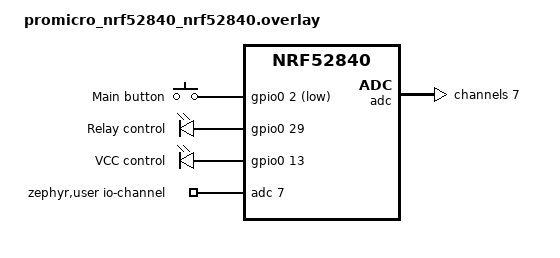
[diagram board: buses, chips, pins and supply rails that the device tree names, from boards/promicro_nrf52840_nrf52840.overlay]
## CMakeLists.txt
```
#
# Copyright (c) 2020 Nordic Semiconductor ASA
#
# SPDX-License-Identifier: LicenseRef-Nordic-5-Clause
#

cmake_minimum_required(VERSION 3.20.0)

find_package(Zephyr REQUIRED HINTS $ENV{ZEPHYR_BASE})

project(light_switch-lp)

# NORDIC SDK APP START
target_sources(app PRIVATE
  src/main.c
  src/gpio_control.c
  src/zigbee_device.c
  src/zigbee_handlers.c
  src/adc_reader.c
)

# Use custom button handler only when DK library is not enabled
target_sources_ifndef(CONFIG_DK_LIBRARY app PRIVATE
  src/button_handler.c
)

target_include_directories(app PRIVATE include)
# NORDIC SDK APP END

target_sources_ifdef(CONFIG_BT_NUS app PRIVATE
  src/nus_cmd.c
)
```

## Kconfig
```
#
# Copyright (c) 2020 Nordic Semiconductor ASA
#
# SPDX-License-Identifier: LicenseRef-Nordic-5-Clause
#

menu "Zephyr Kernel"
source "Kconfig.zephyr"
endmenu

module = NUS_CMD
module-str = NUS command
source "${ZEPHYR_BASE}/subsys/logging/Kconfig.template.log_config"


config LIGHT_SWITCH_CONFIGURE_TX_POWER
	bool "Configure TX power"
	default y
	help
		Enable this option to configure TX power for the sample.

config LIGHT_SWITCH_TX_POWER
	int "TX power"
	depends on LIGHT_SWITCH_CONFIGURE_TX_POWER
	default 0
	help
		TX power level in dBm.

config ADC_READING_INTERVAL_SEC
	int "ADC voltage reading interval in seconds"
	default 60 if !USB_DEVICE_STACK
	default 10
	help
	  Interval between ADC voltage readings.
	  Default is 60 seconds for low-power builds (no USB),
	  10 seconds for development builds with USB.

config ADC_OVERSAMPLE_COUNT
	int "Number of ADC samples to average for noise reduction"
	default 8
	range 1 32
	help
	  Number of ADC samples to take and average together.
	  Higher values reduce noise but increase measurement time.
	  Each sample adds ~100µs delay.
```

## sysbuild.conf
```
#
# Copyright (c) 2024 Nordic Semiconductor ASA
#
# SPDX-License-Identifier: LicenseRef-Nordic-5-Clause
#

# Enable MCUboot bootloader
SB_CONFIG_BOOTLOADER_MCUBOOT=y
```

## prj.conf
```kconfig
#
# Copyright (c) 2020 Nordic Semiconductor ASA
#
# SPDX-License-Identifier: LicenseRef-Nordic-5-Clause
#

CONFIG_NCS_SAMPLES_DEFAULTS=y

CONFIG_UART_INTERRUPT_DRIVEN=n
CONFIG_SERIAL=y
CONFIG_GPIO=y

# ADC for voltage sensing
CONFIG_ADC=y

# Make sure printk is not printing to the UART console
CONFIG_CONSOLE=y
CONFIG_UART_CONSOLE=n

CONFIG_HEAP_MEM_POOL_SIZE=4096
CONFIG_MAIN_STACK_SIZE=4096

CONFIG_ZIGBEE=y
CONFIG_ZIGBEE_APP_UTILS=y
CONFIG_ZIGBEE_ROLE_END_DEVICE=y

# Enable nRF ECB driver for Zigbee crypto
CONFIG_CRYPTO=y
CONFIG_CRYPTO_NRF_ECB=y
CONFIG_CRYPTO_INIT_PRIORITY=80

CONFIG_PM_DEVICE=y
CONFIG_PM=n

# Enable flash subsystem for ZBOSS NVRAM persistence
CONFIG_MPU_ALLOW_FLASH_WRITE=y
CONFIG_NORDIC_QSPI_NOR=y

# This example requires more workqueue stack
CONFIG_SYSTEM_WORKQUEUE_STACK_SIZE=2048
CONFIG_ZBOSS_DEFAULT_THREAD_STACK_SIZE=4096

# Enable API for powering down unused RAM parts
CONFIG_RAM_POWER_DOWN_LIBRARY=y

# Networking
CONFIG_NET_IPV6=n
CONFIG_NET_IP_ADDR_CHECK=n
CONFIG_NET_UDP=n

# USB device stack for console via USB CDC ACM
#CONFIG_USB_DEVICE_STACK=y
#CONFIG_USB_DEVICE_REMOTE_WAKEUP=n
#CONFIG_USB_DEVICE_PRODUCT="Zigbee Light nRF52"
#CONFIG_USB_CDC_ACM=y
#CONFIG_UART_LINE_CTRL=y

# Enable USB console - the board file already sets up USB CDC ACM UART
CONFIG_USB_DEVICE_INITIALIZE_AT_BOOT=n

# Keep printk and console output
CONFIG_PRINTK=y
CONFIG_EARLY_CONSOLE=y
CONFIG_CONSOLE=y
CONFIG_RTT_CONSOLE=y
CONFIG_LOG=y
CONFIG_USE_SEGGER_RTT=y
CONFIG_LOG_BACKEND_RTT=n
CONFIG_LOG_BACKEND_UART=n

CONFIG_ZIGBEE_CHANNEL=25
CONFIG_ZIGBEE_CHANNEL_SELECTION_MODE_SINGLE=y

CONFIG_ADC_READING_INTERVAL_SEC=10
```

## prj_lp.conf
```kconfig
#
# Copyright (c) 2020 Nordic Semiconductor ASA
#
# SPDX-License-Identifier: LicenseRef-Nordic-5-Clause
#

# ==============================================================================
# LOW POWER CONFIGURATION FOR BATTERY OPERATION
# ==============================================================================
# This configuration disables USB and console for true low-power operation.
#
# To build with this configuration:
#   west build -b promicro_nrf52840/nrf52840/uf2 -- -DCONF_FILE=prj_lp.conf
#
# Expected power consumption in sleepy mode: <10µA average
# (Hold button during boot to enable sleepy mode with 5-minute keep-alive)
#
# NOTE: No debug output available - device runs "headless"
# Use prj.conf for development builds with USB console
# ==============================================================================

CONFIG_NCS_SAMPLES_DEFAULTS=y

CONFIG_GPIO=y

CONFIG_HEAP_MEM_POOL_SIZE=2048

CONFIG_ZIGBEE=y
CONFIG_ZIGBEE_APP_UTILS=y
CONFIG_ZIGBEE_ROLE_END_DEVICE=y

# Enable nRF ECB driver for Zigbee crypto
CONFIG_CRYPTO=y
CONFIG_CRYPTO_NRF_ECB=y
CONFIG_CRYPTO_INIT_PRIORITY=80
CONFIG_FLASH_MAP=y
CONFIG_MPU_ALLOW_FLASH_WRITE=y
CONFIG_FLASH=y

# This example requires more workqueue stack
CONFIG_SYSTEM_WORKQUEUE_STACK_SIZE=2048

# Enable API for powering down unused RAM parts
CONFIG_RAM_POWER_DOWN_LIBRARY=y

# Networking
CONFIG_NET_IPV6=n
CONFIG_NET_IP_ADDR_CHECK=n
CONFIG_NET_UDP=n

# ==============================================================================
# USB/CONSOLE DISABLED FOR LOW POWER
# ==============================================================================
# All USB and console features are disabled to allow deep sleep
# The device will consume <10µA in sleepy mode with these settings

# Disable UART (not needed without console)
CONFIG_UART_INTERRUPT_DRIVEN=n
CONFIG_SERIAL=n

# Disable console output
CONFIG_CONSOLE=n
CONFIG_UART_CONSOLE=n
CONFIG_PRINTK=n
# Disable boot banners (they select PRINTK/EARLY_CONSOLE)
CONFIG_NCS_BOOT_BANNER=n
CONFIG_BOOT_BANNER=n
CONFIG_EARLY_CONSOLE=n

# Disable assertions/debug validation (can force PRINTK and add overhead)
CONFIG_ASSERT=n
CONFIG_SPIN_VALIDATE=n

# Disable USB stack completely
CONFIG_USB_DEVICE_STACK=n
# CONFIG_USB_DEVICE_REMOTE_WAKEUP is not set
# CONFIG_USB_DEVICE_PRODUCT is not set
# CONFIG_USB_CDC_ACM is not set
# CONFIG_UART_LINE_CTRL is not set
# CONFIG_USB_DEVICE_INITIALIZE_AT_BOOT is not set

# ==============================================================================
# POWER MANAGEMENT FOR DEEP SLEEP
# ==============================================================================

# Enable system clock (required for power management)
CONFIG_SYS_CLOCK_EXISTS=y

CONFIG_PM=y

CONFIG_POWEROFF=y

# Enable Power Management subsystem - CRITICAL for sleep
CONFIG_PM_DEVICE=y

# Enable tickless kernel - allows system to sleep between events
CONFIG_TICKLESS_KERNEL=y

# Reduce idle stack size to save RAM
CONFIG_IDLE_STACK_SIZE=512

# Disable logging subsystem completely
CONFIG_LOG=n

# Disable shell
CONFIG_SHELL=n

# ==============================================================================
# ADDITIONAL POWER SAVINGS
# ==============================================================================

# Disable unused peripherals to reduce power
CONFIG_I2C=n
CONFIG_SPI=n

# Optimize for size (smaller code = less power during execution)
CONFIG_SPEED_OPTIMIZATIONS=n
CONFIG_SIZE_OPTIMIZATIONS=y

# Reduce system workqueue priority to allow better sleep
CONFIG_SYSTEM_WORKQUEUE_PRIORITY=-1

# ==============================================================================
# CRITICAL: NORDIC POWER MANAGEMENT
# ==============================================================================
# Nordic-specific power management for nRF52840

# Enable Nordic PM (nrfx power management driver)
CONFIG_NRFX_POWER=y

# DCDC converter is typically enabled by default on nRF52840 boards
# If your board doesn't have DCDC, the above won't hurt

CONFIG_ZIGBEE_CHANNEL=25

CONFIG_ZIGBEE_CHANNEL_SELECTION_MODE_SINGLE=y

# ADC for voltage sensing
CONFIG_ADC=y
CONFIG_ADC_READING_INTERVAL_SEC=60
```

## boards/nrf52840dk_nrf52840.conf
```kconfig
#
# Copyright (c) 2022 Nordic Semiconductor ASA
#
# SPDX-License-Identifier: LicenseRef-Nordic-5-Clause
#

# Enable nRF ECB driver
CONFIG_CRYPTO=y
CONFIG_CRYPTO_NRF_ECB=y
CONFIG_CRYPTO_INIT_PRIORITY=80

# Networking
CONFIG_MPSL=y

# Enable DK library for buttons and LEDs on nrf52840dk
CONFIG_DK_LIBRARY=y

# Allow using NFC pins (P0.09, P0.10) as regular GPIO
CONFIG_NFCT_PINS_AS_GPIOS=y
```

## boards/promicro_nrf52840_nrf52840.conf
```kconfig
#
# Copyright (c) 2022 Nordic Semiconductor ASA
#
# SPDX-License-Identifier: LicenseRef-Nordic-5-Clause
#

# Enable nRF ECB driver for Zigbee crypto
CONFIG_CRYPTO=y
CONFIG_CRYPTO_NRF_ECB=y
CONFIG_CRYPTO_INIT_PRIORITY=80
CONFIG_DK_LIBRARY=n

# Pro Micro doesn't have external QSPI flash - disable
CONFIG_NORDIC_QSPI_NOR=n

# Enable flash for ZBOSS NVRAM persistence and MCUboot
CONFIG_FLASH=y
CONFIG_FLASH_MAP=y
```

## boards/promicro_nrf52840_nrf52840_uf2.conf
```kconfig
# Pro Micro nRF52840 board config - no DK library (no LEDs/buttons infrastructure)
# We use custom interrupt-based button handling in button_handler.c
CONFIG_DK_LIBRARY=n

# Force disable debug features for low power
CONFIG_PRINTK=n
CONFIG_ASSERT=n
```

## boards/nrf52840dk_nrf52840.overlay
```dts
/*
 * Copyright (c) 2023 Nordic Semiconductor ASA
 *
 * SPDX-License-Identifier: LicenseRef-Nordic-5-Clause
 */

#include <zephyr/dt-bindings/gpio/gpio.h>

/ {
	chosen {
		ncs,zigbee-timer = &timer2;
	};

	/* Relay control output on P0.03 */
	relays {
		compatible = "gpio-leds";
		status = "okay";
		relay0: relay_0 {
			gpios = <&gpio0 3 GPIO_ACTIVE_HIGH>;
			label = "Relay control";
		};
	};

	aliases {
		relay0 = &relay0;
	};

	/* Voltage sensor ADC channel on P0.04 (AIN2) */
	zephyr,user {
		io-channels = <&adc 2>;
	};
};

&timer2 {
	status = "okay";
};

&adc {
	status = "okay";
	#address-cells = <1>;
	#size-cells = <0>;

	/* P0.04 = AIN2, configured for 0-3.3V range */
	channel@2 {
		reg = <2>;
		zephyr,gain = "ADC_GAIN_1_6";
		zephyr,reference = "ADC_REF_INTERNAL";
		zephyr,acquisition-time = <ADC_ACQ_TIME_DEFAULT>;
		zephyr,input-positive = <NRF_SAADC_AIN2>;
		zephyr,resolution = <12>;
	};
};
```

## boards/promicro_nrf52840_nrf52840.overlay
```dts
/*
 * Copyright (c) 2020 Nordic Semiconductor ASA
 *
 * SPDX-License-Identifier: LicenseRef-Nordic-5-Clause
 */

#include <zephyr/dt-bindings/gpio/gpio.h>

/*
 * Custom configuration for Pro Micro nRF52840 with MCUboot
 *
 * Relay control: P0.29 (active high)
 * Button: P0.02 (active low with pull-up)
 * Voltage ADC: VDDH/5
 */

 / {
	buttons {
		compatible = "gpio-keys";

		/* Physical button on GPIO 0.02 */
		button0: button_0 {
			gpios = <&gpio0 2 (GPIO_PULL_UP | GPIO_ACTIVE_LOW)>;
			label = "Main button";
		};
	};

	leds {
		compatible = "gpio-leds";

		/* Relay/MOSFET control output on P0.17 (active high) */
		relay0: relay_0 {
			gpios = <&gpio0 29 (GPIO_PULL_DOWN | GPIO_ACTIVE_HIGH)>;
			label = "Relay control";
		};
	};

	/* VCC power control - P0.13 LOW = VCC off, HIGH = VCC on */
	vcc_ctrl: vcc_control {
		compatible = "gpio-leds";
		vcc_pin: vcc {
			gpios = <&gpio0 13 GPIO_ACTIVE_HIGH>;
			label = "VCC control";
		};
	};

	aliases {
		sw0 = &button0;
		relay0 = &relay0;
		vcc-ctrl = &vcc_pin;
	};

	/* VDDH voltage sensing via internal divider */
	zephyr,user {
		io-channels = <&adc 7>;
	};
};

/* =============================================================================
 * DISABLE UNUSED PERIPHERALS FOR LOW POWER
 * =============================================================================
 */

/* Enable DC-DC converter for better power efficiency */
&reg1 {
	regulator-initial-mode = <1>; /* NRF5X_REG_MODE_DCDC (0=LDO, 1=DCDC) */
};

/* Disable USB peripheral completely */
&usbd {
	status = "disabled";
};

/* Disable USB voltage regulator */
&reg0 {
	status = "disabled";
};

/* Disable UART */
&uart0 {
	status = "disabled";
};

/* Disable I2C */
&i2c0 {
	status = "disabled";
};

&i2c1 {
	status = "disabled";
};

/* Disable SPI */
&spi0 {
	status = "disabled";
};

&spi1 {
	status = "disabled";
};

&spi2 {
	status = "disabled";
};

/* Disable PWM */
&pwm0 {
	status = "disabled";
};

/* Enable ADC for VDDH voltage sensing */
&adc {
	status = "okay";
	#address-cells = <1>;
	#size-cells = <0>;

	/* VDDHDIV5 - measures VDDH/5 for supply voltage monitoring */
	channel@7 {
		reg = <7>;
		zephyr,gain = "ADC_GAIN_1_6";
		zephyr,reference = "ADC_REF_INTERNAL";
		zephyr,acquisition-time = <ADC_ACQ_TIME_DEFAULT>;
		zephyr,input-positive = <NRF_SAADC_VDDHDIV5>;
		zephyr,resolution = <12>;
	};
};

/* Disable QSPI if present */
&qspi {
	status = "disabled";
};

/* Disable SPI3 */
&spi3 {
	status = "disabled";
};

/* Disable WDT if not needed */
&wdt0 {
	status = "disabled";
};

/* Disable RTC2 (RTC0/1 used by system) */
&rtc2 {
	status = "disabled";
};

/* Disable timer peripherals not needed */
&timer0 {
	status = "disabled";
};

&timer1 {
	status = "disabled";
};

&timer2 {
	status = "disabled";
};

/* Disable board's default LED0 on P0.15 */
&led0 {
	status = "disabled";
};
```

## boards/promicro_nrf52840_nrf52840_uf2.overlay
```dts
/*
 * Copyright (c) 2020 Nordic Semiconductor ASA
 *
 * SPDX-License-Identifier: LicenseRef-Nordic-5-Clause
 */

#include <zephyr/dt-bindings/gpio/gpio.h>

/*
 * Custom configuration for Pro Micro nRF52840
 *
 * Relay control: P0.29 (active high)
 * Button: P0.02 (active low with pull-up)
 * Voltage ADC: VDDH/5
 */

 / {
	buttons {
		compatible = "gpio-keys";

		/* Physical button on GPIO 0.02 */
		button0: button_0 {
			gpios = <&gpio0 2 (GPIO_PULL_UP | GPIO_ACTIVE_LOW)>;
			label = "Main button";
		};
	};

	leds {
		compatible = "gpio-leds";

		/* Relay/MOSFET control output on P0.17 (active high) */
		relay0: relay_0 {
			gpios = <&gpio0 29 (GPIO_PULL_DOWN | GPIO_ACTIVE_HIGH)>;
			label = "Relay control";
		};
	};

	/* VCC power control - P0.13 LOW = VCC off, HIGH = VCC on */
	vcc_ctrl: vcc_control {
		compatible = "gpio-leds";
		vcc_pin: vcc {
			gpios = <&gpio0 13 GPIO_ACTIVE_HIGH>;
			label = "VCC control";
		};
	};

	aliases {
		sw0 = &button0;
		relay0 = &relay0;
		vcc-ctrl = &vcc_pin;
	};

	/* VDDH voltage sensing via internal divider */
	zephyr,user {
		io-channels = <&adc 7>;
	};
};

/* =============================================================================
 * DISABLE UNUSED PERIPHERALS FOR LOW POWER
 * =============================================================================
 */

/* Enable DC-DC converter for better power efficiency */
&reg1 {
	regulator-initial-mode = <1>; /* NRF5X_REG_MODE_DCDC (0=LDO, 1=DCDC) */
};

/* Disable USB peripheral completely */
&usbd {
	status = "disabled";
};

/* Disable USB voltage regulator */
&reg0 {
	status = "disabled";
};

/* Disable UART */
&uart0 {
	status = "disabled";
};

/* Disable I2C */
&i2c0 {
	status = "disabled";
};

&i2c1 {
	status = "disabled";
};

/* Disable SPI */
&spi0 {
	status = "disabled";
};

&spi1 {
	status = "disabled";
};

&spi2 {
	status = "disabled";
};

/* Disable PWM */
&pwm0 {
	status = "disabled";
};

/* Enable ADC for VDDH voltage sensing */
&adc {
	status = "okay";
	#address-cells = <1>;
	#size-cells = <0>;

	/* VDDHDIV5 - measures VDDH/5 for supply voltage monitoring */
	channel@7 {
		reg = <7>;
		zephyr,gain = "ADC_GAIN_1_6";
		zephyr,reference = "ADC_REF_INTERNAL";
		zephyr,acquisition-time = <ADC_ACQ_TIME_DEFAULT>;
		zephyr,input-positive = <NRF_SAADC_VDDHDIV5>;
		zephyr,resolution = <12>;
	};
};

/* Disable QSPI if present */
&qspi {
	status = "disabled";
};

/* Disable SPI3 */
&spi3 {
	status = "disabled";
};

/* Disable WDT if not needed */
&wdt0 {
	status = "disabled";
};

/* Disable RTC2 (RTC0/1 used by system) */
&rtc2 {
	status = "disabled";
};

/* Disable timer peripherals not needed */
&timer0 {
	status = "disabled";
};

&timer1 {
	status = "disabled";
};

&timer2 {
	status = "disabled";
};

/* Disable board's default LED0 on P0.15 */
&led0 {
	status = "disabled";
};
```

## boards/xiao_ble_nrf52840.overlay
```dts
/*
 * Board overlay for Seeed XIAO BLE nRF52840
 *
 * Button on D1 (P0.03) wired to GND
 * LEDs already defined by board: led0=Red(P0.26), led1=Green(P0.30), led2=Blue(P0.06)
 */

#include <zephyr/dt-bindings/gpio/gpio.h>

/ {
	buttons {
		compatible = "gpio-keys";

		button0: button_0 {
			gpios = <&gpio0 3 (GPIO_PULL_UP | GPIO_ACTIVE_LOW)>;
			label = "Main button";
		};
	};

	aliases {
		sw0 = &button0;
	};

	/* Voltage sensor ADC channel on P0.04 (AIN2) */
	zephyr,user {
		io-channels = <&adc 2>;
	};
};

/* Enable DC-DC converter for better power efficiency */
&reg1 {
	regulator-initial-mode = <2>; /* NRF5X_REG_MODE_DCDC */
};

/* =============================================================================
 * DISABLE UNUSED PERIPHERALS FOR LOW POWER
 * =============================================================================
 */

/* Disable USB peripheral completely - major power drain */
&usbd {
	status = "disabled";
};

/* Disable UART - not needed for low power operation */
&uart0 {
	status = "disabled";
};

/* Disable I2C */
&i2c1 {
	status = "disabled";
};

/* Disable SPI */
&spi2 {
	status = "disabled";
};

/* Disable PWM */
&pwm0 {
	status = "disabled";
};

/* Disable USB voltage regulator */
&reg0 {
	status = "disabled";
};

/* Enable ADC for voltage sensing */
&adc {
	status = "okay";
	#address-cells = <1>;
	#size-cells = <0>;

	/* P0.04 = AIN2, configured for 0-3.3V range */
	channel@2 {
		reg = <2>;
		zephyr,gain = "ADC_GAIN_1_6";
		zephyr,reference = "ADC_REF_INTERNAL";
		zephyr,acquisition-time = <ADC_ACQ_TIME_DEFAULT>;
		zephyr,input-positive = <NRF_SAADC_AIN2>;
		zephyr,resolution = <12>;
	};
};
```

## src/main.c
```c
/*
 * Copyright (c) 2020 Nordic Semiconductor ASA
 *
 * SPDX-License-Identifier: LicenseRef-Nordic-5-Clause
 */

/**
 * @file main.c
 * @brief Zigbee LED Controller - Application entry point
 */

#include <zephyr/kernel.h>
#include <zephyr/logging/log.h>
#include <zephyr/pm/device.h>
#include <ram_pwrdn.h>

#include <zboss_api.h>
#include <zigbee/zigbee_app_utils.h>
#include <zb_nrf_platform.h>

#include "zb_mem_config_custom.h"
#include "gpio_control.h"
#include "zigbee_device.h"
#include "zigbee_handlers.h"
#include "adc_reader.h"

#ifdef CONFIG_DK_LIBRARY
#include <dk_buttons_and_leds.h>
#else
#include "button_handler.h"
#endif

#if defined(CONFIG_USB_DEVICE_STACK)
#include <zephyr/usb/usb_device.h>
#endif

#if !defined ZB_ED_ROLE
#error Define ZB_ED_ROLE to compile light switch (End Device) source code.
#endif

LOG_MODULE_REGISTER(app, LOG_LEVEL_INF);

#ifdef CONFIG_DK_LIBRARY
/* Factory reset timer for long press detection */
#define FACTORY_RESET_TIME_MS 5000

static struct k_timer factory_reset_timer;
static volatile bool factory_reset_pending = false;

/* Callback to perform factory reset in ZBOSS context */
static void do_factory_reset(zb_uint8_t param)
{
	ARG_UNUSED(param);
	LOG_INF("Performing factory reset...");
	zb_bdb_reset_via_local_action(0);
}

static void factory_reset_timer_handler(struct k_timer *timer)
{
	factory_reset_pending = true;
	LOG_INF("Factory reset triggered!");
	/* Schedule reset in ZBOSS context - cannot call directly from timer/ISR */
	ZB_SCHEDULE_APP_CALLBACK(do_factory_reset, 0);
}

/**
 * @brief DK button handler callback
 *
 * Button 1 (sw0): Toggle Relay (endpoint 1)
 * Long press Button 1: Factory reset
 */
static void dk_button_handler(uint32_t button_state, uint32_t has_changed)
{
	/* Button 1 pressed - Relay control */
	if (has_changed & DK_BTN1_MSK) {
		if (button_state & DK_BTN1_MSK) {
			/* Button pressed - start factory reset timer */
			k_timer_start(&factory_reset_timer,
				      K_MSEC(FACTORY_RESET_TIME_MS), K_NO_WAIT);
		} else {
			/* Button released */
			k_timer_stop(&factory_reset_timer);
			if (!factory_reset_pending) {
				/* Short press - toggle relay */
				user_input_indicate();
				zigbee_device_toggle_relay();
			}
			factory_reset_pending = false;
		}
	}
}
#endif /* CONFIG_DK_LIBRARY */

/* QSPI flash device - put into deep power-down for low power */
#define QSPI_FLASH_NODE DT_NODELABEL(p25q16h)
#if DT_NODE_EXISTS(QSPI_FLASH_NODE)
static const struct device *qspi_flash = DEVICE_DT_GET_OR_NULL(QSPI_FLASH_NODE);
#endif

static void qspi_flash_suspend(void)
{
#if DT_NODE_EXISTS(QSPI_FLASH_NODE)
	if (qspi_flash && device_is_ready(qspi_flash)) {
		int err = pm_device_action_run(qspi_flash, PM_DEVICE_ACTION_SUSPEND);
		if (err < 0 && err != -EALREADY) {
			LOG_WRN("Failed to suspend QSPI flash: %d", err);
		} else {
			LOG_INF("QSPI flash in deep power-down");
		}
	}
#endif
}

int main(void)
{
	int err;

#if defined(CONFIG_USB_DEVICE_STACK)
	/* Enable USB CDC ACM for console */
	err = usb_enable(NULL);
	if (err && err != -EALREADY) {
		/* USB failed but continue anyway */
	}
	/* Give USB a moment to enumerate */
	k_sleep(K_MSEC(1000));
#endif

	/* Put QSPI flash into deep power-down to save power */
	qspi_flash_suspend();

	LOG_INF("Starting Zigbee LED Controller");

	/* Initialize GPIO (relay pin, and LEDs/buttons when not using DK library) */
	err = gpio_control_init();
	if (err) {
		LOG_ERR("GPIO initialization failed: %d", err);
		return err;
	}

#ifdef CONFIG_DK_LIBRARY
	/* Initialize DK buttons and LEDs */
	err = dk_buttons_init(dk_button_handler);
	if (err) {
		LOG_ERR("DK buttons initialization failed: %d", err);
		return err;
	}

	err = dk_leds_init();
	if (err) {
		LOG_ERR("DK LEDs initialization failed: %d", err);
		return err;
	}

	/* Initialize factory reset timer */
	k_timer_init(&factory_reset_timer, factory_reset_timer_handler, NULL);
#else
	/* Cut VCC off (P0.13 LOW) for low power - external 3.3V rail disabled */
	led_power_set(false);

	/* Initialize button handler with interrupts and debounce */
	err = button_handler_init(NULL);
	if (err) {
		LOG_ERR("Button handler initialization failed: %d", err);
		return err;
	}
#endif

	/* Configure Zigbee stack */
	zigbee_erase_persistent_storage(ERASE_PERSISTENT_CONFIG);
	zb_set_ed_timeout(ED_AGING_TIMEOUT_64MIN);

	/* Configure as sleepy end device if USB is not enabled */
#if !defined(CONFIG_USB_DEVICE_STACK)
	zigbee_configure_sleepy_behavior(true);

	/* Set keep-alive for low power (10 seconds) */
	zb_set_keepalive_timeout(ZB_MILLISECONDS_TO_BEACON_INTERVAL(10000));
#endif

	/* Power off unused sections of RAM to lower device power consumption */
	if (IS_ENABLED(CONFIG_RAM_POWER_DOWN_LIBRARY)) {
		power_down_unused_ram();
	}

	/* Initialize FOTA if enabled */
	zigbee_handlers_init();

	/* Initialize Zigbee device clusters and attributes */
	zigbee_device_init();

	/* Register device context and callbacks */
	zigbee_device_register();

	/* Start Zigbee stack */
	zigbee_enable();

	LOG_INF("Zigbee Relay Controller started - Relay is %s",
		zigbee_device_get_relay_state() ? "ON" : "OFF");

	/* Initialize ADC for voltage sensing */
	err = adc_reader_init();
	if (err) {
		LOG_ERR("ADC initialization failed: %d", err);
	} else {
		/* Start periodic voltage readings */
		adc_start_periodic_reading();
	}

	while (1) {
		k_sleep(K_FOREVER);
	}
}
```

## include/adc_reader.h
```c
/*
 * Copyright (c) 2020 Nordic Semiconductor ASA
 *
 * SPDX-License-Identifier: LicenseRef-Nordic-5-Clause
 */

/**
 * @file adc_reader.h
 * @brief ADC voltage reader interface for P0.04 (AIN2)
 *
 * Reads voltage from P0.04, calibrated for 1.5V to 3.3V range.
 */

#ifndef ADC_READER_H
#define ADC_READER_H

#include <stdint.h>

/**
 * @brief Initialize the ADC for voltage reading
 *
 * Configures ADC channel 2 (P0.04/AIN2) for voltage measurement.
 *
 * @return 0 on success, negative error code on failure
 */
int adc_reader_init(void);

/**
 * @brief Read raw ADC value
 *
 * @param[out] raw_value Pointer to store the raw 12-bit ADC value
 * @return 0 on success, negative error code on failure
 */
int adc_read_raw(int16_t *raw_value);

/**
 * @brief Read voltage in millivolts
 *
 * Converts the raw ADC reading to millivolts.
 * Valid range is approximately 0-3600mV with internal reference and 1/6 gain.
 *
 * @param[out] voltage_mv Pointer to store the voltage in millivolts
 * @return 0 on success, negative error code on failure
 */
int adc_read_voltage_mv(int32_t *voltage_mv);

/**
 * @brief Start periodic ADC voltage readings
 *
 * Starts a periodic work item that reads voltage at the configured interval
 * (CONFIG_ADC_READING_INTERVAL_SEC) and updates the Zigbee attribute.
 *
 * @return 0 on success, negative error code on failure
 */
int adc_start_periodic_reading(void);

/**
 * @brief Stop periodic ADC voltage readings
 */
void adc_stop_periodic_reading(void);

#endif /* ADC_READER_H */
```

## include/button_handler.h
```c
/*
 * Copyright (c) 2020 Nordic Semiconductor ASA
 *
 * SPDX-License-Identifier: LicenseRef-Nordic-5-Clause
 */

/**
 * @file button_handler.h
 * @brief Button input handling with debounce and factory reset support
 */

#ifndef BUTTON_HANDLER_H
#define BUTTON_HANDLER_H

#include <stdbool.h>

/**
 * @brief Button event callback type
 *
 * Called when a button press event is processed (after debounce).
 * The callback runs in work queue context (not ISR).
 *
 * @param long_press true if this was a long press (factory reset), false for short press
 */
typedef void (*button_event_cb_t)(bool long_press);

/**
 * @brief Initialize button handler
 *
 * Sets up button interrupt, debounce timer, and factory reset timer.
 * Must be called after gpio_control_init().
 *
 * @param callback Function to call on button events (can be NULL)
 * @return 0 on success, negative error code on failure
 */
int button_handler_init(button_event_cb_t callback);

#endif /* BUTTON_HANDLER_H */
```

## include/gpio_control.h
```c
/*
 * Copyright (c) 2020 Nordic Semiconductor ASA
 *
 * SPDX-License-Identifier: LicenseRef-Nordic-5-Clause
 */

/**
 * @file gpio_control.h
 * @brief GPIO control interface for LEDs and button
 */

#ifndef GPIO_CONTROL_H
#define GPIO_CONTROL_H

#include <stdbool.h>

/**
 * @brief Initialize all GPIO pins (relay, MOSFET, LEDs, and button)
 *
 * Configures relay and MOSFET outputs, power LED, and button input.
 * Does not setup button interrupt.
 *
 * @return 0 on success, negative error code on failure
 */
int gpio_control_init(void);

/**
 * @brief Set the power/status LED state
 *
 * @param on true to turn LED on, false to turn off
 */
void led_power_set(bool on);

/**
 * @brief Set the relay state
 *
 * Controls the relay output on P0.29 (active high).
 *
 * @param on true to turn relay on, false to turn off
 */
void relay_control_set(bool on);

#ifndef CONFIG_DK_LIBRARY
/**
 * @brief Get current button state
 *
 * @return true if button is pressed (logical active), false otherwise
 */
bool button_get_state(void);

/**
 * @brief Get the button GPIO device tree spec
 *
 * Used by button_handler to configure interrupts.
 *
 * @return Pointer to the button GPIO spec
 */
const struct gpio_dt_spec *button_get_dt_spec(void);
#endif

#endif /* GPIO_CONTROL_H */
```

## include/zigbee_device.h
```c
/*
 * Copyright (c) 2020 Nordic Semiconductor ASA
 *
 * SPDX-License-Identifier: LicenseRef-Nordic-5-Clause
 */

/**
 * @file zigbee_device.h
 * @brief Zigbee device configuration and ZCL cluster definitions
 */

#ifndef ZIGBEE_DEVICE_H
#define ZIGBEE_DEVICE_H

#include <zboss_api.h>

/* Source endpoint for Zigbee device */
#define RELAY_SWITCH_ENDPOINT      1

/* Do not erase NVRAM to save the network parameters after device reboot or
 * power-off. NOTE: If this option is set to ZB_TRUE then do full device erase
 * for all network devices before running other samples.
 */
#define ERASE_PERSISTENT_CONFIG    ZB_FALSE

/**
 * @brief Initialize Zigbee device clusters and attributes
 *
 * Sets up all ZCL cluster attributes with default values.
 */
void zigbee_device_init(void);

/**
 * @brief Register Zigbee device context and callbacks
 *
 * Registers the device context, ZCL callback, and identify handlers.
 */
void zigbee_device_register(void);

/**
 * @brief Set relay state and update Zigbee On/Off attribute
 *
 * @param on true to turn relay on, false to turn off
 */
void zigbee_device_set_relay(bool on);

/**
 * @brief Toggle relay state and update Zigbee On/Off attribute
 *
 * @return New relay state after toggle
 */
bool zigbee_device_toggle_relay(void);

/**
 * @brief Get current relay state
 *
 * @return true if relay is on, false otherwise
 */
bool zigbee_device_get_relay_state(void);

/**
 * @brief Update battery level and report to Zigbee2MQTT
 *
 * Updates the Power Configuration cluster attributes:
 * - Battery voltage (0x0020) in units of 100mV
 * - Battery percentage (0x0021) in half-percent units (200 = 100%)
 *
 * Sends attribute report if voltage change exceeds threshold.
 * Uses Li-ion battery curve: 3.0V = 0%, 4.2V = 100%
 *
 * @param voltage_mv Battery voltage in millivolts
 */
void zigbee_device_update_battery(int32_t voltage_mv);

/**
 * @brief Set network joined status
 *
 * Called from signal handler when network join status changes.
 * Battery reports are only sent when joined.
 *
 * @param joined true if device has joined network, false otherwise
 */
void zigbee_device_set_network_joined(bool joined);

/**
 * @brief Check if device is joined to network
 *
 * @return true if device has joined network, false otherwise
 */
bool zigbee_device_is_network_joined(void);

#endif /* ZIGBEE_DEVICE_H */
```

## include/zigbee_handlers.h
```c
/*
 * Copyright (c) 2020 Nordic Semiconductor ASA
 *
 * SPDX-License-Identifier: LicenseRef-Nordic-5-Clause
 */

/**
 * @file zigbee_handlers.h
 * @brief Zigbee stack event handlers and identify callbacks
 */

#ifndef ZIGBEE_HANDLERS_H
#define ZIGBEE_HANDLERS_H

#include <zboss_api.h>

/**
 * @brief Initialize Zigbee FOTA if enabled
 *
 * Should be called before zigbee_enable().
 */
void zigbee_handlers_init(void);

/**
 * @brief Identify notification callback
 *
 * Handles identify mode - blinks LED when in identify mode.
 * This is registered as the identify notification handler for endpoints.
 *
 * @param bufid Buffer ID from ZBOSS scheduler
 */
void identify_cb(zb_bufid_t bufid);

#endif /* ZIGBEE_HANDLERS_H */
```

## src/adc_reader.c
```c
/*
 * Copyright (c) 2020 Nordic Semiconductor ASA
 *
 * SPDX-License-Identifier: LicenseRef-Nordic-5-Clause
 */

/**
 * @file adc_reader.c
 * @brief ADC voltage reader implementation for P0.04 (AIN2)
 */

#include <zephyr/kernel.h>
#include <zephyr/device.h>
#include <zephyr/devicetree.h>
#include <zephyr/logging/log.h>
#include <errno.h>

#include "adc_reader.h"
#include "zigbee_device.h"

LOG_MODULE_REGISTER(adc_reader, LOG_LEVEL_INF);

#ifdef CONFIG_ADC

#include <zephyr/drivers/adc.h>

/* Reading interval from Kconfig (60s for low-power, 10s for development) */
#define ADC_READING_INTERVAL_MS (CONFIG_ADC_READING_INTERVAL_SEC * 1000)

/* Oversampling configuration for noise reduction */
#define ADC_SAMPLE_DELAY_US     100     /* Delay between samples in microseconds */

#if !DT_NODE_EXISTS(DT_PATH(zephyr_user)) || \
    !DT_NODE_HAS_PROP(DT_PATH(zephyr_user), io_channels)
#error "No suitable devicetree overlay specified for ADC"
#endif

#define DT_SPEC_AND_COMMA(node_id, prop, idx) \
	ADC_DT_SPEC_GET_BY_IDX(node_id, idx),

/* ADC channels defined in devicetree */
static const struct adc_dt_spec adc_channel = ADC_DT_SPEC_GET_BY_IDX(DT_PATH(zephyr_user), 0);

/* Buffer for ADC sample */
static int16_t adc_buf;

/* ADC sequence configuration */
static struct adc_sequence sequence = {
	.buffer = &adc_buf,
	.buffer_size = sizeof(adc_buf),
};

int adc_reader_init(void)
{
	int err;

	if (!adc_is_ready_dt(&adc_channel)) {
		LOG_ERR("ADC controller device %s not ready", adc_channel.dev->name);
		return -ENODEV;
	}

	err = adc_channel_setup_dt(&adc_channel);
	if (err < 0) {
		LOG_ERR("Could not setup ADC channel (%d)", err);
		return err;
	}

	LOG_INF("ADC initialized on channel %d", adc_channel.channel_id);

	return 0;
}

int adc_read_raw(int16_t *raw_value)
{
	int err;

	if (raw_value == NULL) {
		return -EINVAL;
	}

	err = adc_sequence_init_dt(&adc_channel, &sequence);
	if (err < 0) {
		LOG_ERR("Could not initialize ADC sequence (%d)", err);
		return err;
	}

	err = adc_read_dt(&adc_channel, &sequence);
	if (err < 0) {
		LOG_ERR("Could not read ADC (%d)", err);
		return err;
	}

	*raw_value = adc_buf;

	return 0;
}

int adc_read_voltage_mv(int32_t *voltage_mv)
{
	int err;
	int16_t raw;
	int32_t sum = 0;
	int valid_samples = 0;

	if (voltage_mv == NULL) {
		return -EINVAL;
	}

	/* Take multiple samples and average to reduce noise */
	for (int i = 0; i < CONFIG_ADC_OVERSAMPLE_COUNT; i++) {
		err = adc_read_raw(&raw);
		if (err == 0) {
			sum += raw;
			valid_samples++;
		}

		/* Small delay between samples to let ADC settle */
		if (i < CONFIG_ADC_OVERSAMPLE_COUNT - 1) {
			k_busy_wait(ADC_SAMPLE_DELAY_US);
		}
	}

	if (valid_samples == 0) {
		LOG_ERR("All ADC samples failed");
		return -EIO;
	}

	/* Calculate average raw value */
	int16_t avg_raw = (int16_t)(sum / valid_samples);

	/* Convert averaged raw value to millivolts */
	*voltage_mv = (int32_t)avg_raw;
	err = adc_raw_to_millivolts_dt(&adc_channel, voltage_mv);
	if (err < 0) {
		LOG_ERR("Could not convert to millivolts (%d)", err);
		return err;
	}

	/* VDDHDIV5 divides VDDH by 5, so multiply to get actual voltage */
	*voltage_mv *= 5;

	LOG_DBG("ADC: %d samples, avg raw=%d, VDDH=%d mV",
		valid_samples, avg_raw, *voltage_mv);

	return 0;
}

/* Periodic reading work item and timer */
static struct k_work_delayable adc_work;
static bool periodic_reading_enabled = false;

static void adc_work_handler(struct k_work *work)
{
	int32_t voltage_mv;
	int err;

	err = adc_read_voltage_mv(&voltage_mv);
	if (err == 0) {
		/* Update Zigbee battery attribute with new voltage reading */
		zigbee_device_update_battery(voltage_mv);
	} else {
		LOG_WRN("Failed to read ADC voltage: %d", err);
	}

	/* Schedule next reading if still enabled */
	if (periodic_reading_enabled) {
		k_work_schedule(&adc_work, K_MSEC(ADC_READING_INTERVAL_MS));
	}
}

int adc_start_periodic_reading(void)
{
	if (periodic_reading_enabled) {
		return 0; /* Already running */
	}

	k_work_init_delayable(&adc_work, adc_work_handler);
	periodic_reading_enabled = true;

	/* Take first reading immediately */
	k_work_schedule(&adc_work, K_NO_WAIT);

	LOG_INF("ADC periodic reading started (interval: %d sec)", CONFIG_ADC_READING_INTERVAL_SEC);

	return 0;
}

void adc_stop_periodic_reading(void)
{
	periodic_reading_enabled = false;
	k_work_cancel_delayable(&adc_work);
	LOG_INF("ADC periodic reading stopped");
}

#else /* !CONFIG_ADC */

/* Stub implementations when ADC is disabled */

int adc_reader_init(void)
{
	LOG_INF("ADC disabled");
	return 0;
}

int adc_read_raw(int16_t *raw_value)
{
	return -ENOTSUP;
}

int adc_read_voltage_mv(int32_t *voltage_mv)
{
	return -ENOTSUP;
}

int adc_start_periodic_reading(void)
{
	return 0;
}

void adc_stop_periodic_reading(void)
{
}

#endif /* CONFIG_ADC */
```

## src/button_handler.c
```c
/*
 * Copyright (c) 2020 Nordic Semiconductor ASA
 *
 * SPDX-License-Identifier: LicenseRef-Nordic-5-Clause
 */

/**
 * @file button_handler.c
 * @brief Button input handling with proper debounce and factory reset support
 *
 * Uses "sample after quiet period" debounce approach:
 * - Any edge interrupt restarts a short debounce timer
 * - When timer fires (no edges for 30ms), we sample the actual button state
 * - This ensures we act on the settled state, not bouncy edges
 */

#include <zephyr/kernel.h>
#include <zephyr/drivers/gpio.h>
#include <zephyr/logging/log.h>

#include <zboss_api.h>
#include <zigbee/zigbee_app_utils.h>

#include "button_handler.h"
#include "gpio_control.h"
#include "zigbee_device.h"

LOG_MODULE_REGISTER(button_handler, LOG_LEVEL_INF);

/* Timing constants */
#define DEBOUNCE_MS           30    /* Wait for button to settle */
#define FACTORY_RESET_TIME_MS 5000  /* Hold time for factory reset */

/* Button state machine */
typedef enum {
	BTN_IDLE,           /* Button released, waiting for press */
	BTN_PRESSED,        /* Button pressed, waiting for release or long-press timeout */
	BTN_LONG_PRESS,     /* Long press detected, factory reset in progress */
} button_state_t;

static volatile button_state_t btn_state = BTN_IDLE;

/* Timers */
static struct k_timer debounce_timer;      /* Debounce: sample state after quiet period */
static struct k_timer factory_reset_timer; /* Long press detection */

/* Work items for thread context execution */
static struct k_work short_press_work;
static struct k_work factory_reset_work;

/* GPIO callback */
static struct gpio_callback button_cb_data;

/* User callback */
static button_event_cb_t user_callback = NULL;

/* Forward declarations */
static void process_button_state(bool pressed);

/**
 * @brief Debounce timer handler - samples button state after quiet period
 *
 * Called 30ms after the last edge interrupt. The button should be settled now.
 */
static void debounce_timer_handler(struct k_timer *timer)
{
	bool pressed = button_get_state();
	process_button_state(pressed);
}

/**
 * @brief Process the debounced button state
 *
 * Called from debounce timer handler (ISR context).
 */
static void process_button_state(bool pressed)
{
	switch (btn_state) {
	case BTN_IDLE:
		if (pressed) {
			/* Transition: IDLE -> PRESSED */
			btn_state = BTN_PRESSED;
			LOG_DBG("Button pressed, starting long-press timer");
			k_timer_start(&factory_reset_timer,
				      K_MSEC(FACTORY_RESET_TIME_MS), K_NO_WAIT);
		}
		/* else: still idle, ignore */
		break;

	case BTN_PRESSED:
		if (!pressed) {
			/* Transition: PRESSED -> IDLE (short press) */
			btn_state = BTN_IDLE;
			k_timer_stop(&factory_reset_timer);
			LOG_DBG("Button released (short press)");
			k_work_submit(&short_press_work);
		}
		/* else: still pressed, waiting for release or timeout */
		break;

	case BTN_LONG_PRESS:
		if (!pressed) {
			/* Transition: LONG_PRESS -> IDLE */
			btn_state = BTN_IDLE;
			LOG_DBG("Button released after long press");
		}
		/* else: still pressed during/after factory reset */
		break;
	}
}

/**
 * @brief Factory reset timer handler - long press detected
 */
static void factory_reset_timer_handler(struct k_timer *timer)
{
	if (btn_state == BTN_PRESSED) {
		/* Still pressed after 5 seconds - trigger factory reset */
		btn_state = BTN_LONG_PRESS;
		LOG_INF("Long press detected - triggering factory reset");
		k_work_submit(&factory_reset_work);
	}
}

/**
 * @brief Button ISR - just restarts debounce timer
 *
 * We don't process the button state here - we wait for it to settle.
 */
static void button_isr(const struct device *dev, struct gpio_callback *cb,
		       uint32_t pins)
{
	/* Any edge restarts the debounce timer */
	k_timer_start(&debounce_timer, K_MSEC(DEBOUNCE_MS), K_NO_WAIT);
}

/**
 * @brief Short press work handler (thread context)
 */
static void short_press_work_handler(struct k_work *work)
{
	ARG_UNUSED(work);

	/* Inform Zigbee stack about user input */
	user_input_indicate();

	/* Toggle relay */
	zigbee_device_toggle_relay();

	/* Notify user callback */
	if (user_callback) {
		user_callback(false);
	}
}

/* Callback to perform factory reset in ZBOSS context */
static void do_factory_reset(zb_uint8_t param)
{
	ARG_UNUSED(param);
	LOG_INF("Performing factory reset...");
	zb_bdb_reset_via_local_action(0);
}

/**
 * @brief Factory reset work handler (thread context)
 */
static void factory_reset_work_handler(struct k_work *work)
{
	ARG_UNUSED(work);

	LOG_INF("Factory reset triggered!");

	/* Notify user callback */
	if (user_callback) {
		user_callback(true);
	}

	/* Schedule reset in ZBOSS context */
	ZB_SCHEDULE_APP_CALLBACK(do_factory_reset, 0);
}

int button_handler_init(button_event_cb_t callback)
{
	int err;
	const struct gpio_dt_spec *button_spec = button_get_dt_spec();

	user_callback = callback;

	/* Initialize timers */
	k_timer_init(&debounce_timer, debounce_timer_handler, NULL);
	k_timer_init(&factory_reset_timer, factory_reset_timer_handler, NULL);

	/* Initialize work items */
	k_work_init(&short_press_work, short_press_work_handler);
	k_work_init(&factory_reset_work, factory_reset_work_handler);

	/* Setup button interrupt for both edges */
	err = gpio_pin_interrupt_configure_dt(button_spec, GPIO_INT_EDGE_BOTH);
	if (err) {
		LOG_ERR("Failed to configure button interrupt: %d", err);
		return err;
	}

	gpio_init_callback(&button_cb_data, button_isr, BIT(button_spec->pin));
	err = gpio_add_callback(button_spec->port, &button_cb_data);
	if (err) {
		LOG_ERR("Failed to add button callback: %d", err);
		return err;
	}

	LOG_INF("Button handler initialized (debounce=%dms, long_press=%dms)",
		DEBOUNCE_MS, FACTORY_RESET_TIME_MS);
	return 0;
}
```

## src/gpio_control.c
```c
/*
 * Copyright (c) 2020 Nordic Semiconductor ASA
 *
 * SPDX-License-Identifier: LicenseRef-Nordic-5-Clause
 */

/**
 * @file gpio_control.c
 * @brief GPIO control implementation for LEDs, relay, and button
 */

#include <zephyr/kernel.h>
#include <zephyr/device.h>
#include <zephyr/drivers/gpio.h>
#include <zephyr/logging/log.h>

#include "gpio_control.h"

#ifdef CONFIG_DK_LIBRARY
#include <dk_buttons_and_leds.h>
#endif

LOG_MODULE_REGISTER(gpio_control, LOG_LEVEL_INF);

/* Relay GPIO on P0.29 - only if relay0 alias exists in devicetree */
#if DT_NODE_EXISTS(DT_ALIAS(relay0))
#define HAS_RELAY 1
static const struct gpio_dt_spec relay_ctrl = GPIO_DT_SPEC_GET(DT_ALIAS(relay0), gpios);
#else
#define HAS_RELAY 0
#endif

#ifndef CONFIG_DK_LIBRARY
/* Custom GPIO specs when DK library is not used */
static const struct gpio_dt_spec button_main = GPIO_DT_SPEC_GET(DT_ALIAS(sw0), gpios);

/* VCC power control on P0.13 - HIGH = VCC on, LOW = VCC off */
#if DT_NODE_EXISTS(DT_ALIAS(vcc_ctrl))
#define HAS_VCC_CTRL 1
static const struct gpio_dt_spec vcc_ctrl = GPIO_DT_SPEC_GET(DT_ALIAS(vcc_ctrl), gpios);
#else
#define HAS_VCC_CTRL 0
#endif
#endif

int gpio_control_init(void)
{
	int err;

#ifndef CONFIG_DK_LIBRARY
	/* Configure VCC control pin (P0.13) - set HIGH to keep VCC on */
#if HAS_VCC_CTRL
	if (!gpio_is_ready_dt(&vcc_ctrl)) {
		LOG_ERR("VCC control GPIO not ready");
		return -ENODEV;
	}
	/* Start with VCC ON (P0.13 HIGH) - set LOW to cut VCC for low power */
	err = gpio_pin_configure_dt(&vcc_ctrl, GPIO_OUTPUT_ACTIVE);
	if (err) {
		LOG_ERR("Failed to configure VCC control: %d", err);
		return err;
	}
	LOG_INF("VCC control initialized (P0.13 HIGH = VCC on)");
#endif

	/* Configure button input (interrupt setup done by button_handler) */
	if (!gpio_is_ready_dt(&button_main)) {
		LOG_ERR("Button GPIO not ready");
		return -ENODEV;
	}
	err = gpio_pin_configure_dt(&button_main, GPIO_INPUT);
	if (err) {
		LOG_ERR("Failed to configure button: %d", err);
		return err;
	}
#endif

	/* Configure relay output on P0.29 (only if defined in devicetree) */
#if HAS_RELAY
	if (!gpio_is_ready_dt(&relay_ctrl)) {
		LOG_ERR("Relay GPIO not ready");
		return -ENODEV;
	}
	err = gpio_pin_configure_dt(&relay_ctrl, GPIO_OUTPUT_INACTIVE);
	if (err) {
		LOG_ERR("Failed to configure relay: %d", err);
		return err;
	}
	LOG_INF("Relay GPIO initialized on P%d.%02d",
		relay_ctrl.port == DEVICE_DT_GET(DT_NODELABEL(gpio0)) ? 0 : 1,
		relay_ctrl.pin);
#else
	LOG_INF("GPIO initialized (no relay configured)");
#endif

	return 0;
}

void led_power_set(bool on)
{
#ifdef CONFIG_DK_LIBRARY
	dk_set_led(DK_LED2, on ? 1 : 0);
#else
	/* On Pro Micro, this controls VCC via P0.13 */
	/* For low power: call led_power_set(false) to cut VCC */
#if HAS_VCC_CTRL
	gpio_pin_set_dt(&vcc_ctrl, on ? 1 : 0);
#endif
#endif
}

void relay_control_set(bool on)
{
#if HAS_RELAY
	gpio_pin_set_dt(&relay_ctrl, on ? 1 : 0);
#else
	ARG_UNUSED(on);
#endif
}

#ifndef CONFIG_DK_LIBRARY
bool button_get_state(void)
{
	/* `gpio_pin_get_dt()` already applies `GPIO_ACTIVE_LOW` from devicetree. */
	return gpio_pin_get_dt(&button_main) > 0;
}

const struct gpio_dt_spec *button_get_dt_spec(void)
{
	return &button_main;
}
#endif
```

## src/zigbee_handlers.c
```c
/*
 * Copyright (c) 2020 Nordic Semiconductor ASA
 *
 * SPDX-License-Identifier: LicenseRef-Nordic-5-Clause
 */

/**
 * @file zigbee_handlers.c
 * @brief Zigbee stack event handlers and identify callbacks
 */

#include <zephyr/kernel.h>
#include <zephyr/logging/log.h>

#include <zboss_api.h>
#include <zboss_api_addons.h>
#include <zigbee/zigbee_app_utils.h>
#include <zigbee/zigbee_error_handler.h>
#include <ram_pwrdn.h>

#include "zigbee_handlers.h"
#include "zigbee_device.h"
#include "gpio_control.h"

#if CONFIG_ZIGBEE_FOTA
#include <zigbee/zigbee_fota.h>
#include <zephyr/sys/reboot.h>
#include <zephyr/dfu/mcuboot.h>
#endif

LOG_MODULE_REGISTER(zigbee_handlers, LOG_LEVEL_INF);

/**@brief Function to toggle the identify LED.
 *
 * @param  bufid  Unused parameter, required by ZBOSS scheduler API.
 */
static void toggle_identify_led(zb_bufid_t bufid)
{
	static int blink_status;

#ifdef CONFIG_DK_LIBRARY
	led_power_set((++blink_status) % 2);
	ZB_SCHEDULE_APP_ALARM(toggle_identify_led, bufid,
			      ZB_MILLISECONDS_TO_BEACON_INTERVAL(100));
#else
	/* On non-DK targets `led_power_set()` controls external VCC and must not blink. */
	ARG_UNUSED(blink_status);
	led_power_set(false);
	ARG_UNUSED(bufid);
#endif
}

void identify_cb(zb_bufid_t bufid)
{
	zb_ret_t zb_err_code;

	if (bufid) {
#ifndef CONFIG_DK_LIBRARY
		/* No identify indication in low-power/non-DK builds. */
		zb_buf_free(bufid);
		return;
#endif
		/* Schedule a self-scheduling function that will toggle the LED. */
		ZB_SCHEDULE_APP_CALLBACK(toggle_identify_led, bufid);
	} else {
		/* Cancel the toggling function alarm and turn off LED. */
		zb_err_code = ZB_SCHEDULE_APP_ALARM_CANCEL(toggle_identify_led, ZB_ALARM_ANY_PARAM);
		ZVUNUSED(zb_err_code);

		/* Turn off power LED to save power */
		led_power_set(false);
	}
}

#ifdef CONFIG_ZIGBEE_FOTA
static void confirm_image(void)
{
	if (!boot_is_img_confirmed()) {
		int ret = boot_write_img_confirmed();

		if (ret) {
			LOG_ERR("Couldn't confirm image: %d", ret);
		} else {
			LOG_INF("Marked image as OK");
		}
	}
}

static void ota_evt_handler(const struct zigbee_fota_evt *evt)
{
	switch (evt->id) {
	case ZIGBEE_FOTA_EVT_PROGRESS:
		led_power_set(evt->dl.progress % 2);
		break;

	case ZIGBEE_FOTA_EVT_FINISHED:
		LOG_INF("Reboot application.");
		if (IS_ENABLED(CONFIG_RAM_POWER_DOWN_LIBRARY)) {
			power_up_unused_ram();
		}
		sys_reboot(SYS_REBOOT_COLD);
		break;

	case ZIGBEE_FOTA_EVT_ERROR:
		LOG_ERR("OTA image transfer failed.");
		break;

	default:
		break;
	}
}
#endif /* CONFIG_ZIGBEE_FOTA */

void zigbee_handlers_init(void)
{
#ifdef CONFIG_ZIGBEE_FOTA
	zigbee_fota_init(ota_evt_handler);
	confirm_image();
#endif
}

/**@brief Zigbee stack event handler. */
void zboss_signal_handler(zb_bufid_t bufid)
{
	zb_zdo_app_signal_hdr_t *sig_hndler = NULL;
	zb_zdo_app_signal_type_t sig = zb_get_app_signal(bufid, &sig_hndler);
	zb_ret_t status = ZB_GET_APP_SIGNAL_STATUS(bufid);

#if IS_ENABLED(CONFIG_DK_LIBRARY) && (IS_ENABLED(CONFIG_CONSOLE) || IS_ENABLED(CONFIG_LOG))
	/* Development mode - indicate network status using LEDs. */
	if (sig == ZB_BDB_SIGNAL_DEVICE_FIRST_START ||
	    sig == ZB_BDB_SIGNAL_DEVICE_REBOOT ||
	    sig == ZB_BDB_SIGNAL_STEERING) {
		if (status == RET_OK) {
			led_power_set(true);  /* Joined - LED on */
		} else {
			led_power_set(false); /* Not joined - LED off */
		}
	}
#else
	/* Low power mode - always keep VCC/LED off */
	(void)sig;
	(void)status;
	led_power_set(false);
#endif

#ifdef CONFIG_ZIGBEE_FOTA
	zigbee_fota_signal_handler(bufid);
#endif

	switch (sig) {
	case ZB_BDB_SIGNAL_DEVICE_REBOOT:
		/* Device rebooted - check if we're still connected */
		if (status == RET_OK) {
			zigbee_device_set_network_joined(true);
		}
		ZB_ERROR_CHECK(zigbee_default_signal_handler(bufid));
		break;
	case ZB_BDB_SIGNAL_STEERING:
		/* Network steering completed */
		if (status == RET_OK) {
			zigbee_device_set_network_joined(true);
		}
		ZB_ERROR_CHECK(zigbee_default_signal_handler(bufid));
		break;
	case ZB_ZDO_SIGNAL_LEAVE:
		/* Left network */
		zigbee_device_set_network_joined(false);
		ZB_ERROR_CHECK(zigbee_default_signal_handler(bufid));
		break;
	default:
		ZB_ERROR_CHECK(zigbee_default_signal_handler(bufid));
		break;
	}

	if (bufid) {
		zb_buf_free(bufid);
	}
}
```
